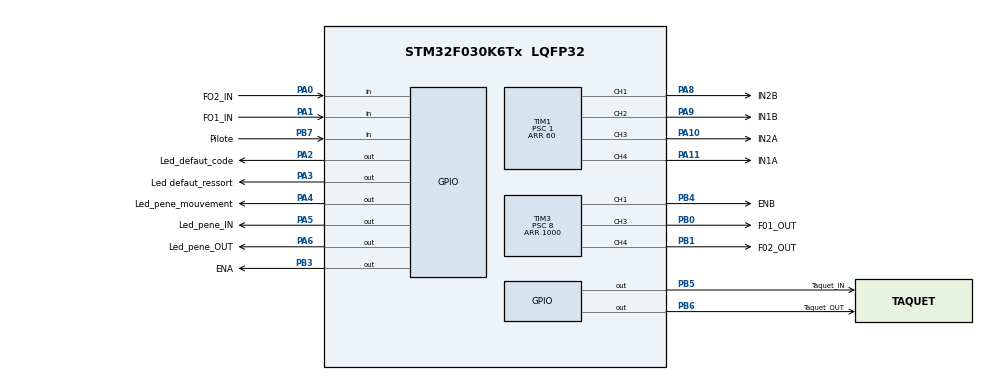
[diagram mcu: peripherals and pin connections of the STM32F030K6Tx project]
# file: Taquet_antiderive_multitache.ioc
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FREERTOS.HEAP_NUMBER=4
FREERTOS.INCLUDE_eTaskGetState=1
FREERTOS.INCLUDE_pcTaskGetTaskName=1
FREERTOS.INCLUDE_vTaskCleanUpResources=1
FREERTOS.INCLUDE_vTaskDelayUntil=1
FREERTOS.INCLUDE_xTaskAbortDelay=1
FREERTOS.INCLUDE_xTaskGetCurrentTaskHandle=1
FREERTOS.INCLUDE_xTaskGetHandle=1
FREERTOS.MEMORY_ALLOCATION=2
FREERTOS.Queues01=Queue1,16,uint16_t,0,Dynamic,NULL,NULL
FREERTOS.Tasks01=Task01,-1,80,StartTask01,Default,NULL,Dynamic,NULL,NULL;Task02,-1,80,StartTask02,Default,NULL,Dynamic,NULL,NULL
FREERTOS.configCHECK_FOR_STACK_OVERFLOW=0
FREERTOS.configENABLE_BACKWARD_COMPATIBILITY=1
FREERTOS.configIDLE_SHOULD_YIELD=0
FREERTOS.configMAX_PRIORITIES=3
FREERTOS.configMAX_TASK_NAME_LEN=16
FREERTOS.configMINIMAL_STACK_SIZE=64
FREERTOS.configTOTAL_HEAP_SIZE=1200
FREERTOS.configUSE_APPLICATION_TASK_TAG=1
FREERTOS.configUSE_CO_ROUTINES=0
FREERTOS.configUSE_IDLE_HOOK=1
FREERTOS.configUSE_MALLOC_FAILED_HOOK=1
FREERTOS.configUSE_MUTEXES=1
FREERTOS.configUSE_NEWLIB_REENTRANT=1
FREERTOS.configUSE_PREEMPTION=1
FREERTOS.configUSE_RECURSIVE_MUTEXES=1
FREERTOS.configUSE_TASK_NOTIFICATIONS=1
FREERTOS.configUSE_TICK_HOOK=1
Mcu.Family=STM32F0
Mcu.Name=STM32F030K6Tx
Mcu.Package=LQFP32
PA0.GPIO_Label=FO2_IN
PA0.GPIO_PuPd=GPIO_NOPULL
PA0.Signal=GPIO_Input
PA1.GPIO_Label=FO1_IN
PA1.GPIO_PuPd=GPIO_NOPULL
PA1.Signal=GPIO_Input
PA10.GPIO_Label=IN2A
PA10.Signal=S_TIM1_CH3
PA11.GPIO_Label=IN1A
PA11.Signal=S_TIM1_CH4
PA13.Mode=Serial_Wire
PA13.Signal=SYS_SWDIO
PA14.Mode=Serial_Wire
PA14.Signal=SYS_SWCLK
PA2.GPIO_Label=Led_defaut_code
PA2.Signal=GPIO_Output
PA3.GPIO_Label=Led defaut_ressort
PA3.Signal=GPIO_Output
PA4.GPIO_Label=Led_pene_mouvement
PA4.Signal=GPIO_Output
PA5.GPIO_Label=Led_pene_IN
PA5.Signal=GPIO_Output
PA6.GPIO_Label=Led_pene_OUT
PA6.Signal=GPIO_Output
PA8.GPIO_Label=IN2B
PA8.Signal=S_TIM1_CH1
PA9.GPIO_Label=IN1B
PA9.Signal=S_TIM1_CH2
PB0.GPIO_Label=F01_OUT
PB0.Signal=S_TIM3_CH3
PB1.GPIO_Label=F02_OUT
PB1.Signal=S_TIM3_CH4
PB3.GPIO_Label=ENA
PB3.Signal=GPIO_Output
PB4.GPIO_Label=ENB
PB4.Signal=S_TIM3_CH1
PB5.GPIO_Label=Taquet_IN
PB5.Signal=GPIO_Output
PB6.GPIO_Label=Taquet_OUT
PB6.Signal=GPIO_Output
PB7.GPIO_Label=Pilote
PB7.Signal=GPIO_Input
ProjectManager.HeapSize=0x200
ProjectManager.StackSize=0x400
ProjectManager.TargetToolchain=STM32CubeIDE
RCC.APB1Freq_Value=8000000
RCC.APB1TimFreq_Value=8000000
SH.S_TIM1_CH1.0=TIM1_CH1,PWM Generation1 CH1
SH.S_TIM1_CH2.0=TIM1_CH2,PWM Generation2 CH2
SH.S_TIM1_CH3.0=TIM1_CH3,PWM Generation3 CH3
SH.S_TIM1_CH4.0=TIM1_CH4,PWM Generation4 CH4
SH.S_TIM3_CH1.0=TIM3_CH1,PWM Generation1 CH1
SH.S_TIM3_CH3.0=TIM3_CH3,PWM Generation3 CH3
SH.S_TIM3_CH4.0=TIM3_CH4,PWM Generation4 CH4
TIM1.AutoReloadPreload=TIM_AUTORELOAD_PRELOAD_ENABLE
TIM1.Channel-PWM\ Generation1\ CH1=TIM_CHANNEL_1
TIM1.Channel-PWM\ Generation2\ CH2=TIM_CHANNEL_2
TIM1.Channel-PWM\ Generation3\ CH3=TIM_CHANNEL_3
TIM1.Channel-PWM\ Generation4\ CH4=TIM_CHANNEL_4
TIM1.Period=60
TIM1.Prescaler=1
TIM1.Pulse-PWM\ Generation1\ CH1=10
TIM1.Pulse-PWM\ Generation2\ CH2=10
TIM1.Pulse-PWM\ Generation3\ CH3=10
TIM1.Pulse-PWM\ Generation4\ CH4=10
TIM1.RepetitionCounter=0
TIM3.AutoReloadPreload=TIM_AUTORELOAD_PRELOAD_ENABLE
TIM3.Channel-PWM\ Generation1\ CH1=TIM_CHANNEL_1
TIM3.Channel-PWM\ Generation3\ CH3=TIM_CHANNEL_3
TIM3.Channel-PWM\ Generation4\ CH4=TIM_CHANNEL_4
TIM3.Period=1000
TIM3.Prescaler=8
TIM3.Pulse-PWM\ Generation1\ CH1=10
TIM3.Pulse-PWM\ Generation3\ CH3=10
TIM3.Pulse-PWM\ Generation4\ CH4=10
VP_FREERTOS_VS_CMSIS_V1.Mode=CMSIS_V1
VP_TIM1_VS_ClockSourceINT.Mode=Internal
VP_TIM3_VS_ClockSourceINT.Mode=Internal
board=custom

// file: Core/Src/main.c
/* USER CODE BEGIN Header */
/** Jotaro
  ******************************************************************************
  * @file           : main.c
  * @brief          : Main program body
  ******************************************************************************
  * @attention
  *
  * Copyright (c) 2023 STMicroelectronics.
  * All rights reserved.
  *
  * This software is licensed under terms that can be found in the LICENSE file
  * in the root directory of this software component.
  * If no LICENSE file comes with this software, it is provided AS-IS.
  *
  ******************************************************************************
  */
/* USER CODE END Header */
#include "main.h"
#include "cmsis_os.h"

/* USER CODE BEGIN Includes */
#include <stdint.h>
/* USER CODE END Includes */

TIM_HandleTypeDef htim1;
TIM_HandleTypeDef htim3;

osThreadId Task01Handle;
osThreadId Task02Handle;
osMessageQId Queue1Handle;
/* USER CODE BEGIN PV */
uint16_t moteurstart = 0; // =>1 moteur rentrer,  =>2 moteur sortir,  =>0 moteur arret,  =>3 moteur sequence finis mais pas maintenu

/* USER CODE END PV */

void SystemClock_Config(void);
static void MX_GPIO_Init(void);
static void MX_TIM1_Init(void);
static void MX_TIM3_Init(void);
void StartTask01(void const * argument);
void StartTask02(void const * argument);

int main(void)
{

  /* MCU Configuration--------------------------------------------------------*/

  /* Reset of all peripherals, Initializes the Flash interface and the Systick. */
  HAL_Init();

  /* Configure the system clock */
  SystemClock_Config();

  /* Initialize all configured peripherals */
  MX_GPIO_Init();
  MX_TIM1_Init();
  MX_TIM3_Init();
  /* USER CODE BEGIN 2 */
  HAL_GPIO_WritePin(GPIOB, ENA_Pin, GPIO_PIN_SET);
  TIM3->CCR1 = TIM3->ARR;

	int forcemot = 0, comptpas = 0, pasmax = 17, o = 375, i, pas = 0, ordre =0;
	forcemot = TIM1->ARR /2;

/*	while(1)
	{
		ordre = HAL_GPIO_ReadPin(GPIOB, Pilote_Pin);
		if(ordre == 1)
			  HAL_GPIO_WritePin(GPIOA, Led_pene_mouvement_Pin , GPIO_PIN_SET);
	}*/

/*
	  while(1)//(tempEvent.value.v == 20 && rentrer == 0)
	  {
		  	  //informe via led pene en mouvement
			  HAL_GPIO_WritePin(GPIOA, Led_pene_mouvement_Pin , GPIO_PIN_SET);
			  for(i=0;i<3;i++)
			  {
				  //tempEvent = osMessageGet(Queue1Handle, osDelay(1));
				  for(comptpas=0; comptpas < o; comptpas++);
				  TIM1->CCR4 = 0;
				  TIM1->CCR1 = forcemot;
				  o=o;
				  for(comptpas=0; comptpas < o; comptpas++);
				  TIM1->CCR1 = forcemot;
				  TIM1->CCR3 = forcemot;
				  o=o;
				  for(comptpas=0; comptpas < o; comptpas++);
				  TIM1->CCR1 = 0;
				  TIM1->CCR3 = forcemot;
				  o=o;
				  for(comptpas=0; comptpas < o; comptpas++);
				  TIM1->CCR3 = forcemot;
				  TIM1->CCR2 = forcemot;
				  o=o;
				  for(comptpas=0; comptpas < o; comptpas++);
				  TIM1->CCR3 = 0;
				  TIM1->CCR2 = forcemot;
				  o=o;
				  for(comptpas=0; comptpas < o; comptpas++);
				  TIM1->CCR2 = forcemot;
				  TIM1->CCR4 = forcemot;
				  o=o;
				  for(comptpas=0; comptpas < o; comptpas++);
				  TIM1->CCR2 = 0;
				  TIM1->CCR4 = forcemot;
				  o=o;
				  for(comptpas=0; comptpas < o; comptpas++);
				  TIM1->CCR4 = forcemot;
				  TIM1->CCR1 = forcemot;
				  o=o-20;
			  }
			  while(pas < pasmax)
			  {
				  //		tempEvent = osMessageGet(Queue1Handle, osDelay(1));
				  for(comptpas=0; comptpas < o; comptpas++);
				  TIM1->CCR4 = 0;
				  TIM1->CCR1 = forcemot;
				  pas=pas;
				  for(comptpas=0; comptpas < o; comptpas++);
				  TIM1->CCR1 = forcemot;
				  TIM1->CCR3 = forcemot;
				  pas=pas;
				  for(comptpas=0; comptpas < o; comptpas++);
				  TIM1->CCR1 = 0;
				  TIM1->CCR3 = forcemot;
				  pas=pas;
				  for(comptpas=0; comptpas < o; comptpas++);
				  TIM1->CCR3 = forcemot;
				  TIM1->CCR2 = forcemot;
				  pas=pas;
				  for(comptpas=0; comptpas < o; comptpas++);
				  TIM1->CCR3 = 0;
				  TIM1->CCR2 = forcemot;
				  pas=pas;
				  for(comptpas=0; comptpas < o; comptpas++);
				  TIM1->CCR2 = forcemot;
				  TIM1->CCR4 = forcemot;
				  pas=pas;
				  for(comptpas=0; comptpas < o; comptpas++);
				  TIM1->CCR2 = 0;
				  TIM1->CCR4 = forcemot;
				  pas=pas;
				  for(comptpas=0; comptpas < o; comptpas++);
				  TIM1->CCR4 = forcemot;
				  TIM1->CCR1 = forcemot;
				  pas++;
			  }
			  for(i=0;i<=3;i++)
			  {
				  //  tempEvent = osMessageGet(Queue1Handle, osDelay(1));
				  for(comptpas=0; comptpas < o; comptpas++);
				  TIM1->CCR4 = 0;
				  TIM1->CCR1 = forcemot;
				  o=o;
				  for(comptpas=0; comptpas < o; comptpas++);
				  TIM1->CCR1 = forcemot;
				  TIM1->CCR3 = forcemot;
				  o=o;
				  for(comptpas=0; comptpas < o; comptpas++);
				  TIM1->CCR1 = 0;
				  TIM1->CCR3 = forcemot;
				  o=o;
				  for(comptpas=0; comptpas < o; comptpas++);
				  TIM1->CCR3 = forcemot;
				  TIM1->CCR2 = forcemot;
				  o=o;
				  for(comptpas=0; comptpas < o; comptpas++);
				  TIM1->CCR3 = 0;
				  TIM1->CCR2 = forcemot;
				  o=o;
				  for(comptpas=0; comptpas < o; comptpas++);
				  TIM1->CCR2 = forcemot;
				  TIM1->CCR4 = forcemot;
				  o=o;
				  for(comptpas=0; comptpas < o; comptpas++);
				  TIM1->CCR2 = 0;
				  TIM1->CCR4 = forcemot;
				  o=o;
				  for(comptpas=0; comptpas < o; comptpas++);
				  TIM1->CCR4 = forcemot;
				  TIM1->CCR1 = forcemot;
				  o=o+20;
			  }
			  //controle frequence enable
			  TIM3->PSC = 1;
			  TIM3->ARR = 60;
			  // maintient en rentrer
			  // timer enable
			  TIM3->CCR1 = 40; //TIM3->ARR;

			  TIM1->PSC = 1;
			  TIM1->ARR = 60;
			  // timer sortie moteur
			  TIM1->CCR1 = 9;
			  TIM1->CCR2 = 0;
			  TIM1->CCR3 = 0;
			  TIM1->CCR4 = 0;
			  TIM3->PSC = 6;
			  TIM3->ARR = 10;

			  while(1)
			  {
				  HAL_GPIO_WritePin(GPIOA, Led_pene_mouvement_Pin , GPIO_PIN_SET);
				  TIM3->PSC = 4;
				  TIM3->ARR = 4;
			  }
	  }
*/

  /* USER CODE END 2 */

  /* Create the queue(s) */
  /* definition and creation of Queue1 */
  osMessageQDef(Queue1, 16, uint16_t);
  Queue1Handle = osMessageCreate(osMessageQ(Queue1), NULL);

  /* Create the thread(s) */
  /* definition and creation of Task01 */
  osThreadDef(Task01, StartTask01, osPriorityBelowNormal, 0, 80);
  Task01Handle = osThreadCreate(osThread(Task01), NULL);

  /* definition and creation of Task02 */
  osThreadDef(Task02, StartTask02, osPriorityBelowNormal, 0, 80);
  Task02Handle = osThreadCreate(osThread(Task02), NULL);

  /* Start scheduler */
  osKernelStart();
  /* We should never get here as control is now taken by the scheduler */
  /* Infinite loop */
  while (1)
  {

  }
}

void SystemClock_Config(void)
{
  RCC_OscInitTypeDef RCC_OscInitStruct = {0};
  RCC_ClkInitTypeDef RCC_ClkInitStruct = {0};

  /** Initializes the RCC Oscillators according to the specified parameters
  * in the RCC_OscInitTypeDef structure.
  */
  RCC_OscInitStruct.OscillatorType = RCC_OSCILLATORTYPE_HSI;
  RCC_OscInitStruct.HSIState = RCC_HSI_ON;
  RCC_OscInitStruct.HSICalibrationValue = RCC_HSICALIBRATION_DEFAULT;
  RCC_OscInitStruct.PLL.PLLState = RCC_PLL_NONE;
  if (HAL_RCC_OscConfig(&RCC_OscInitStruct) != HAL_OK)
  {
    Error_Handler();
  }

  /** Initializes the CPU, AHB and APB buses clocks
  */
  RCC_ClkInitStruct.ClockType = RCC_CLOCKTYPE_HCLK|RCC_CLOCKTYPE_SYSCLK
                              |RCC_CLOCKTYPE_PCLK1;
  RCC_ClkInitStruct.SYSCLKSource = RCC_SYSCLKSOURCE_HSI;
  RCC_ClkInitStruct.AHBCLKDivider = RCC_SYSCLK_DIV1;
  RCC_ClkInitStruct.APB1CLKDivider = RCC_HCLK_DIV1;

  if (HAL_RCC_ClockConfig(&RCC_ClkInitStruct, FLASH_LATENCY_0) != HAL_OK)
  {
    Error_Handler();
  }
}

static void MX_TIM1_Init(void)
{

  TIM_ClockConfigTypeDef sClockSourceConfig = {0};
  TIM_MasterConfigTypeDef sMasterConfig = {0};
  TIM_OC_InitTypeDef sConfigOC = {0};
  TIM_BreakDeadTimeConfigTypeDef sBreakDeadTimeConfig = {0};

  htim1.Instance = TIM1;
  htim1.Init.Prescaler = 1;
  htim1.Init.CounterMode = TIM_COUNTERMODE_UP;
  htim1.Init.Period = 60;
  htim1.Init.ClockDivision = TIM_CLOCKDIVISION_DIV1;
  htim1.Init.RepetitionCounter = 0;
  htim1.Init.AutoReloadPreload = TIM_AUTORELOAD_PRELOAD_ENABLE;
  if (HAL_TIM_Base_Init(&htim1) != HAL_OK)
  {
    Error_Handler();
  }
  sClockSourceConfig.ClockSource = TIM_CLOCKSOURCE_INTERNAL;
  if (HAL_TIM_ConfigClockSource(&htim1, &sClockSourceConfig) != HAL_OK)
  {
    Error_Handler();
  }
  if (HAL_TIM_PWM_Init(&htim1) != HAL_OK)
  {
    Error_Handler();
  }
  sMasterConfig.MasterOutputTrigger = TIM_TRGO_RESET;
  sMasterConfig.MasterSlaveMode = TIM_MASTERSLAVEMODE_DISABLE;
  if (HAL_TIMEx_MasterConfigSynchronization(&htim1, &sMasterConfig) != HAL_OK)
  {
    Error_Handler();
  }
  sConfigOC.OCMode = TIM_OCMODE_PWM1;
  sConfigOC.Pulse = 10;
  sConfigOC.OCPolarity = TIM_OCPOLARITY_HIGH;
  sConfigOC.OCNPolarity = TIM_OCNPOLARITY_HIGH;
  sConfigOC.OCFastMode = TIM_OCFAST_DISABLE;
  sConfigOC.OCIdleState = TIM_OCIDLESTATE_RESET;
  sConfigOC.OCNIdleState = TIM_OCNIDLESTATE_RESET;
  if (HAL_TIM_PWM_ConfigChannel(&htim1, &sConfigOC, TIM_CHANNEL_1) != HAL_OK)
  {
    Error_Handler();
  }
  if (HAL_TIM_PWM_ConfigChannel(&htim1, &sConfigOC, TIM_CHANNEL_2) != HAL_OK)
  {
    Error_Handler();
  }
  if (HAL_TIM_PWM_ConfigChannel(&htim1, &sConfigOC, TIM_CHANNEL_3) != HAL_OK)
  {
    Error_Handler();
  }
  if (HAL_TIM_PWM_ConfigChannel(&htim1, &sConfigOC, TIM_CHANNEL_4) != HAL_OK)
  {
    Error_Handler();
  }
  sBreakDeadTimeConfig.OffStateRunMode = TIM_OSSR_DISABLE;
  sBreakDeadTimeConfig.OffStateIDLEMode = TIM_OSSI_DISABLE;
  sBreakDeadTimeConfig.LockLevel = TIM_LOCKLEVEL_OFF;
  sBreakDeadTimeConfig.DeadTime = 0;
  sBreakDeadTimeConfig.BreakState = TIM_BREAK_DISABLE;
  sBreakDeadTimeConfig.BreakPolarity = TIM_BREAKPOLARITY_HIGH;
  sBreakDeadTimeConfig.AutomaticOutput = TIM_AUTOMATICOUTPUT_DISABLE;
  if (HAL_TIMEx_ConfigBreakDeadTime(&htim1, &sBreakDeadTimeConfig) != HAL_OK)
  {
    Error_Handler();
  }
  /* USER CODE BEGIN TIM1_Init 2 */

  HAL_TIM_PWM_Start(&htim1, TIM_CHANNEL_1);
  HAL_TIM_PWM_Start(&htim1, TIM_CHANNEL_2);
  HAL_TIM_PWM_Start(&htim1, TIM_CHANNEL_3);
  HAL_TIM_PWM_Start(&htim1, TIM_CHANNEL_4);

  TIM1->CCR1 = 0;
  TIM1->CCR2 = 0;
  TIM1->CCR3 = 0;
  TIM1->CCR4 = 0;

  /* USER CODE END TIM1_Init 2 */
  HAL_TIM_MspPostInit(&htim1);

}

static void MX_TIM3_Init(void)
{

  TIM_ClockConfigTypeDef sClockSourceConfig = {0};
  TIM_MasterConfigTypeDef sMasterConfig = {0};
  TIM_OC_InitTypeDef sConfigOC = {0};

  htim3.Instance = TIM3;
  htim3.Init.Prescaler = 8;
  htim3.Init.CounterMode = TIM_COUNTERMODE_UP;
  htim3.Init.Period = 1000;
  htim3.Init.ClockDivision = TIM_CLOCKDIVISION_DIV1;
  htim3.Init.AutoReloadPreload = TIM_AUTORELOAD_PRELOAD_ENABLE;
  if (HAL_TIM_Base_Init(&htim3) != HAL_OK)
  {
    Error_Handler();
  }
  sClockSourceConfig.ClockSource = TIM_CLOCKSOURCE_INTERNAL;
  if (HAL_TIM_ConfigClockSource(&htim3, &sClockSourceConfig) != HAL_OK)
  {
    Error_Handler();
  }
  if (HAL_TIM_PWM_Init(&htim3) != HAL_OK)
  {
    Error_Handler();
  }
  sMasterConfig.MasterOutputTrigger = TIM_TRGO_RESET;
  sMasterConfig.MasterSlaveMode = TIM_MASTERSLAVEMODE_DISABLE;
  if (HAL_TIMEx_MasterConfigSynchronization(&htim3, &sMasterConfig) != HAL_OK)
  {
    Error_Handler();
  }
  sConfigOC.OCMode = TIM_OCMODE_PWM1;
  sConfigOC.Pulse = 10;
  sConfigOC.OCPolarity = TIM_OCPOLARITY_HIGH;
  sConfigOC.OCFastMode = TIM_OCFAST_DISABLE;
  if (HAL_TIM_PWM_ConfigChannel(&htim3, &sConfigOC, TIM_CHANNEL_1) != HAL_OK)
  {
    Error_Handler();
  }
  if (HAL_TIM_PWM_ConfigChannel(&htim3, &sConfigOC, TIM_CHANNEL_3) != HAL_OK)
  {
    Error_Handler();
  }
  if (HAL_TIM_PWM_ConfigChannel(&htim3, &sConfigOC, TIM_CHANNEL_4) != HAL_OK)
  {
    Error_Handler();
  }
  /* USER CODE BEGIN TIM3_Init 2 */

  //active les timer pour les fourches optiques
  HAL_TIM_PWM_Start(&htim3, TIM_CHANNEL_3);
  HAL_TIM_PWM_Start(&htim3, TIM_CHANNEL_4);

  //active les timer pour les enables
  HAL_TIM_PWM_Start(&htim3, TIM_CHANNEL_1);

    // timer pour les fourches optiques
    TIM3->CCR3 = TIM3->ARR/2;
    TIM3->CCR4 = TIM3->ARR/2;

    //timer pour les enables
    TIM3->CCR1 = TIM3->ARR/2; // ENB

  /* USER CODE END TIM3_Init 2 */
  HAL_TIM_MspPostInit(&htim3);

}

static void MX_GPIO_Init(void)
{
  GPIO_InitTypeDef GPIO_InitStruct = {0};

  /* GPIO Ports Clock Enable */
  __HAL_RCC_GPIOA_CLK_ENABLE();
  __HAL_RCC_GPIOB_CLK_ENABLE();

  /*Configure GPIO pin Output Level */
  HAL_GPIO_WritePin(GPIOA, Led_defaut_code_Pin|Led_defaut_ressort_Pin|Led_pene_mouvement_Pin|Led_pene_IN_Pin
                          |Led_pene_OUT_Pin, GPIO_PIN_RESET);

  /*Configure GPIO pin Output Level */
  HAL_GPIO_WritePin(GPIOB, ENA_Pin|Taquet_IN_Pin|Taquet_OUT_Pin, GPIO_PIN_RESET);

  /*Configure GPIO pins : FO2_IN_Pin FO1_IN_Pin */
  GPIO_InitStruct.Pin = FO2_IN_Pin|FO1_IN_Pin;
  GPIO_InitStruct.Mode = GPIO_MODE_INPUT;
  GPIO_InitStruct.Pull = GPIO_NOPULL;
  HAL_GPIO_Init(GPIOA, &GPIO_InitStruct);

  /*Configure GPIO pins : Led_defaut_code_Pin Led_defaut_ressort_Pin Led_pene_mouvement_Pin Led_pene_IN_Pin
                           Led_pene_OUT_Pin */
  GPIO_InitStruct.Pin = Led_defaut_code_Pin|Led_defaut_ressort_Pin|Led_pene_mouvement_Pin|Led_pene_IN_Pin
                          |Led_pene_OUT_Pin;
  GPIO_InitStruct.Mode = GPIO_MODE_OUTPUT_PP;
  GPIO_InitStruct.Pull = GPIO_NOPULL;
  GPIO_InitStruct.Speed = GPIO_SPEED_FREQ_LOW;
  HAL_GPIO_Init(GPIOA, &GPIO_InitStruct);

  /*Configure GPIO pins : ENA_Pin Taquet_IN_Pin Taquet_OUT_Pin */
  GPIO_InitStruct.Pin = ENA_Pin|Taquet_IN_Pin|Taquet_OUT_Pin;
  GPIO_InitStruct.Mode = GPIO_MODE_OUTPUT_PP;
  GPIO_InitStruct.Pull = GPIO_NOPULL;
  GPIO_InitStruct.Speed = GPIO_SPEED_FREQ_LOW;
  HAL_GPIO_Init(GPIOB, &GPIO_InitStruct);

  /*Configure GPIO pin : Pilote_Pin */
  GPIO_InitStruct.Pin = Pilote_Pin;
  GPIO_InitStruct.Mode = GPIO_MODE_INPUT;
  GPIO_InitStruct.Pull = GPIO_NOPULL;
  HAL_GPIO_Init(Pilote_GPIO_Port, &GPIO_InitStruct);

}

/* USER CODE BEGIN 4 */

int fourcheoptique(uint16_t choix)
{
	uint16_t x = 0, y = 0, compt = 0, nbrdetest = 100, etat = 0, etat1 = 0; //variabel de compteur
	// frequence du timer
	TIM3->PSC = 8;
	TIM3->ARR = 1000;
	// timer enable
	TIM3->CCR1 = TIM3->ARR;
	while(compt<nbrdetest) // on vÃ©rifie 50 fois lÃ©tat logique du signal
	{
		x = HAL_GPIO_ReadPin(GPIOA, FO1_IN_Pin); // on lit la fourche optique 1
		y = HAL_GPIO_ReadPin(GPIOA, FO2_IN_Pin); // on lit la fourche optique 2
		etat = etat + x;
		etat1 = etat1 + y;
		compt++;
	}
	if (etat == nbrdetest && choix == 1)
		return 1; // detection d'obstacle
	else if (etat < nbrdetest && choix == 1)
		return 2; // rien Ã  l'horizon
	else if (etat1 == nbrdetest && choix == 0)
		return 10; // detection d'obstacle
	else if (etat1 < nbrdetest && choix == 0)
		return 20; // rien Ã  l'horizon
}

/* USER CODE END 4 */

void StartTask01(void const * argument)
{
  /* USER CODE BEGIN 5 */
	int fo1 = 0, fo2 = 0, ordre = 0, rentrer = 0;
	  /* Infinite loop */
	  for(;;)
	  {
		  //reception d'un ordre
		  HAL_GPIO_WritePin(GPIOB, Taquet_IN_Pin, SET);
		  ordre = HAL_GPIO_ReadPin(GPIOB, Pilote_Pin);
		  //Si ordre == 1 alors le pene doit rentrer
		  //SI ordre == 0 alors le pene doit sortir
		  if(ordre == 1 && rentrer == 0)
		  {
			  // on verifie si le pene est sortie
			  fo1 = fourcheoptique(1);
			  if(fo1 == 1)
			  {
				  // on demarre le moteur en envoyant un message vers la 2eme tache
				  moteurstart = 1; // moteur demarre la rentrer

				  while(fo1 != 10 && moteurstart == 1)
				  {
					  //reception message 63 pas fait avec la variable global start moteur
					  // on verifie si le pene est rentrer
					  fo1 = fourcheoptique(0);
					  osDelay(10);
				  }
				  // a parir de la le pen est bloque en position rentrer
				  // variable pour dire si le pene est rentrer ou non
				  rentrer = 1;
				  moteurstart = 0;
				  //envoyer au maitre que le taquet est rentrer
				  HAL_GPIO_WritePin(GPIOB, Taquet_IN_Pin, SET);
				  HAL_GPIO_WritePin(GPIOB, Taquet_OUT_Pin, RESET);
				  //informer pene rentrer
				  HAL_GPIO_WritePin(GPIOA, Led_pene_IN_Pin, SET);
				  HAL_GPIO_WritePin(GPIOA, Led_pene_OUT_Pin, RESET);
			  }
		  }// Fin ordre de rentrer
		  else if(ordre == 0 && rentrer == 1)
		  {
			  moteurstart = 5;
			  // on verifie si le pene est rentrer
			  fo1 = fourcheoptique(0);
			  if(fo1 == 10)//si rentrer
			  {
				  //informe pene en mouvement
				  HAL_GPIO_WritePin(GPIOA, Led_pene_mouvement_Pin , GPIO_PIN_SET);
				  //desactive les sorties pour laisser le ressort sortir
				  TIM1->CCR3 = 0;
				  TIM1->CCR2 = 0;
				  TIM1->CCR4 = 0;
				  TIM1->CCR1 = 0;
				  //desactivation des enables
				  HAL_GPIO_WritePin(GPIOB, ENA_Pin, GPIO_PIN_RESET);
				  TIM3->CCR1 = 0; // => ENB desactiver
				  HAL_Delay(1);//temps pour laisser le temps au pene de se faire voir par la fourche
				  //activation des enables
				  TIM3->CCR1 = TIM3->ARR; // => ENB activer
				  //active la sortie
				  TIM1->CCR4 = TIM1->ARR/2;
				  HAL_Delay(100);//temps pour laisser le temps au pene de se faire voir par la fourche
				  TIM1->CCR4 = 0;//relache la sorti totalement
				  TIM3->CCR1 = 0; // => ENB desactiver
				  HAL_Delay(50);//temps pour laisser le temps au pene de se faire voir par la fourche
				  //savoir si le pene est bien sorti
				  fo1 = fourcheoptique(1);
				  if(fo1 == 1)//le pen est bien sorti
				  {
					  //envoyer au maitre que le taquer est sorti
					  HAL_GPIO_WritePin(GPIOB, Taquet_OUT_Pin, SET);
					  HAL_GPIO_WritePin(GPIOB, Taquet_IN_Pin, RESET);
					  //informe pene s'arrete
					  HAL_GPIO_WritePin(GPIOA, Led_pene_mouvement_Pin , GPIO_PIN_RESET);
					  HAL_GPIO_WritePin(GPIOA, Led_defaut_ressort_Pin , GPIO_PIN_RESET);
					  //informer pene rentrer
					  HAL_GPIO_WritePin(GPIOA, Led_pene_IN_Pin, RESET);
					  HAL_GPIO_WritePin(GPIOA, Led_pene_OUT_Pin, SET);
				  }
				  else //probleme de ressort sort manuellement le pene
				  {
					  HAL_GPIO_WritePin(GPIOA, Led_defaut_ressort_Pin , GPIO_PIN_SET);
					  //enable pour faire fonctionner le moteur
					  HAL_GPIO_WritePin(GPIOB, ENA_Pin, GPIO_PIN_SET);
					  TIM3->CCR1 = TIM3->ARR; // => ENB activer
					  // on demarre le moteur en envoyant un message vers la 2eme tache
					  moteurstart = 2;
					  while(moteurstart == 2 && fo1 != 1)
					  {
						  //reception message 63 pas fait avec la variable global moteurstart
						  // on verifie si le pene est rentrer
						  fo1 = fourcheoptique(1);
						  osDelay(10);
					  }
					  //envoyer au maitre que le taquet est rentrer
					  HAL_GPIO_WritePin(GPIOB, Taquet_IN_Pin, RESET);
					  HAL_GPIO_WritePin(GPIOB, Taquet_OUT_Pin, SET);
					  //informer pene rentrer
					  HAL_GPIO_WritePin(GPIOA, Led_pene_IN_Pin, RESET);
					  HAL_GPIO_WritePin(GPIOA, Led_pene_OUT_Pin, SET);
				  }// fin resortir le pen manuellement
				  //active les enables
				  HAL_GPIO_WritePin(GPIOB, ENA_Pin, GPIO_PIN_SET);
				  TIM3->CCR1 = TIM3->ARR;
			  }
			  rentrer = 0;
		  }// fin ordre de sorti*/

		  fo1 = fourcheoptique(0);
		  fo2 = fourcheoptique(1);
		  if(fo2 == 2 && fo1 == 20 && rentrer == 1)
		  {
			  moteurstart = 1;
			  while(fo1 == 20 && fo2 == 2)
			  {
				  fo1 = fourcheoptique(0);
				  fo2 = fourcheoptique(1);
			  }
			  HAL_GPIO_WritePin(GPIOA, Led_defaut_ressort_Pin, SET);
			  moteurstart = 0;
			  TIM1->CCR1 = 9;
			  TIM1->CCR2 = 0;
			  TIM1->CCR3 = 0;
			  TIM1->CCR4 = 0;
		  }
		  else if(fo1 == 20 && fo2 == 2 && rentrer == 0)
		  {
			  moteurstart = 2;
			  while(fo1 == 20 && fo2 == 2)
			  {
				  fo1 = fourcheoptique(0);
				  fo2 = fourcheoptique(1);
			  }
			  HAL_GPIO_WritePin(GPIOA, Led_defaut_ressort_Pin, SET);
			  moteurstart = 0;
			  TIM1->CCR1 = 0;
			  TIM1->CCR2 = 0;
			  TIM1->CCR3 = 0;
			  TIM1->CCR4 = 0;
		  }
		  else
			  HAL_GPIO_WritePin(GPIOA, Led_defaut_code_Pin|Led_defaut_ressort_Pin, RESET);

	  }
  /* USER CODE END 5 */
}

void StartTask02(void const * argument)
{
  /* USER CODE BEGIN StartTask02 */
	int forcemot, comptpas = 0, pasmax = 6, o = 375, i, pas = 0, rentre = 10;
	forcemot = TIM1->ARR /2;
  /* Infinite loop */
  for(;;)
  {
	  comptpas = 0;
	  pas = 0;
	  if(moteurstart == 1) //moteur en mode rentrer le pene
	  {
		  //informe pene en mouvement
		  HAL_GPIO_WritePin(GPIOA, Led_pene_mouvement_Pin , GPIO_PIN_SET);
		  //active les enables
		  HAL_GPIO_WritePin(GPIOB, ENA_Pin, GPIO_PIN_SET);
		  TIM3->CCR1 = TIM3->ARR;
		  for(i=0;i<3 && moteurstart == 1;i++)
		  {
			  TIM1->CCR4 = 0;
			  TIM1->CCR1 = forcemot;
			  for(comptpas=0; comptpas < o; comptpas++);
			  TIM1->CCR1 = forcemot;
			  TIM1->CCR3 = forcemot;
			  for(comptpas=0; comptpas < o; comptpas++);
			  TIM1->CCR1 = 0;
			  TIM1->CCR3 = forcemot;
			  for(comptpas=0; comptpas < o; comptpas++);
			  TIM1->CCR3 = forcemot;
			  TIM1->CCR2 = forcemot;
			  for(comptpas=0; comptpas < o; comptpas++);
			  TIM1->CCR3 = 0;
			  TIM1->CCR2 = forcemot;
			  for(comptpas=0; comptpas < o; comptpas++);
			  TIM1->CCR2 = forcemot;
			  TIM1->CCR4 = forcemot;
			  for(comptpas=0; comptpas < o; comptpas++);
			  TIM1->CCR2 = 0;
			  TIM1->CCR4 = forcemot;
			  for(comptpas=0; comptpas < o; comptpas++);
			  TIM1->CCR4 = forcemot;
			  TIM1->CCR1 = forcemot;
			  o=o-20;
		  }
		  for(pas = 0; pas < pasmax  && moteurstart == 1; pas++)
		  {
			  TIM1->CCR4 = 0;
			  TIM1->CCR1 = forcemot;
			  for(comptpas=0; comptpas < o; comptpas++);
			  TIM1->CCR1 = forcemot;
			  TIM1->CCR3 = forcemot;
			  for(comptpas=0; comptpas < o; comptpas++);
			  TIM1->CCR1 = 0;
			  TIM1->CCR3 = forcemot;
			  for(comptpas=0; comptpas < o; comptpas++);
			  TIM1->CCR3 = forcemot;
			  TIM1->CCR2 = forcemot;
			  for(comptpas=0; comptpas < o; comptpas++);
			  TIM1->CCR3 = 0;
			  TIM1->CCR2 = forcemot;
			  for(comptpas=0; comptpas < o; comptpas++);
			  TIM1->CCR2 = forcemot;
			  TIM1->CCR4 = forcemot;
			  for(comptpas=0; comptpas < o; comptpas++);
			  TIM1->CCR2 = 0;
			  TIM1->CCR4 = forcemot;
			  for(comptpas=0; comptpas < o; comptpas++);
			  TIM1->CCR4 = forcemot;
			  TIM1->CCR1 = forcemot;
			  for(comptpas=0; comptpas < o; comptpas++);
		  }
		  for(i=0;i<=3 && moteurstart == 1;i++)
		  {
				  TIM1->CCR4 = 0;
				  TIM1->CCR1 = forcemot;
				  for(comptpas=0; comptpas < o; comptpas++);
				  TIM1->CCR1 = forcemot;
				  TIM1->CCR3 = forcemot;
				  for(comptpas=0; comptpas < o; comptpas++);
				  TIM1->CCR1 = 0;
				  TIM1->CCR3 = forcemot;
				  for(comptpas=0; comptpas < o; comptpas++);
				  TIM1->CCR3 = forcemot;
				  TIM1->CCR2 = forcemot;
				  for(comptpas=0; comptpas < o; comptpas++);
				  TIM1->CCR3 = 0;
				  TIM1->CCR2 = forcemot;
				  for(comptpas=0; comptpas < o; comptpas++);
				  TIM1->CCR2 = forcemot;
				  TIM1->CCR4 = forcemot;
				  for(comptpas=0; comptpas < o; comptpas++);
				  TIM1->CCR2 = 0;
				  TIM1->CCR4 = forcemot;
				  for(comptpas=0; comptpas < o; comptpas++);
				  TIM1->CCR4 = forcemot;
				  TIM1->CCR1 = forcemot;
				  o=o+20;
				  for(comptpas=0; comptpas < o; comptpas++);
		  }
		  	  moteurstart = 3; // fin séquence mais pas encore maintenue
			  //controle frequence enable
			  TIM3->PSC = 1;
			  TIM3->ARR = 60;
			  // maintient en rentrer
			  // timer enable
			  TIM3->CCR1 = 40; //TIM3->ARR;

			  TIM1->PSC = 1;
			  TIM1->ARR = 60;
			  // timer sortie moteur
			  TIM1->CCR1 = 9;
			  TIM1->CCR2 = 0;
			  TIM1->CCR3 = 0;
			  TIM1->CCR4 = 0;

			  moteurstart = 0 ; //dit que la séquence est terminé moteur maintenu

			  TIM3->PSC = 6;
			  TIM3->ARR = 10;
			  pas = 0;
			  HAL_GPIO_WritePin(GPIOA, Led_pene_mouvement_Pin , GPIO_PIN_RESET);
			  rentre = 1;
			  while(rentre == 1)
			  {
				  if(moteurstart == 5)
					  rentre = 0;
			  }//fin sortir pene
	  }//stop rentrer le moteur
	  else if (moteurstart == 2 && rentre == 0) // sortir le moteur
	  {
		  //informe via led pene en mouvement
		  HAL_GPIO_WritePin(GPIOA, Led_pene_mouvement_Pin , GPIO_PIN_SET);
		  //active les enables
		  HAL_GPIO_WritePin(GPIOB, ENA_Pin, GPIO_PIN_SET);
		  TIM3->CCR1 = TIM3->ARR;

		  for(i=0;i<3 && moteurstart == 2; i++)//envoyer au maitre que le taquet est rentrer
		  {
			  TIM1->CCR1 = 0;
			  TIM1->CCR4 = forcemot;
			  for(comptpas=0; comptpas < o; comptpas++);
			  TIM1->CCR4 = forcemot;
			  TIM1->CCR2 = forcemot;
			  for(comptpas=0; comptpas < o; comptpas++);
			  TIM1->CCR4 = 0;
			  TIM1->CCR2 = forcemot;
			  for(comptpas=0; comptpas < o; comptpas++);
			  TIM1->CCR2 = forcemot;
			  TIM1->CCR3 = forcemot;
			  for(comptpas=0; comptpas < o; comptpas++);
			  TIM1->CCR2 = 0;
			  TIM1->CCR3 = forcemot;
			  for(comptpas=0; comptpas < o; comptpas++);
			  TIM1->CCR3 = forcemot;
			  TIM1->CCR1 = forcemot;
			  for(comptpas=0; comptpas < o; comptpas++);
			  TIM1->CCR3 = 0;
			  TIM1->CCR1 = forcemot;
			  for(comptpas=0; comptpas < o; comptpas++);
			  TIM1->CCR1 = forcemot;
			  TIM1->CCR4 = forcemot;
			  o=o+10;
			  for(comptpas=0; comptpas < o; comptpas++);
		  }
		  for(pas = 0; pas < pasmax && moteurstart == 2; pas++)
		  {
			  // blocage sans bruit nickel
			  // le moteur n'arrive pas a entrener le pene
			  for(comptpas=0; comptpas < o; comptpas++);
			  TIM1->CCR1 = 0;
			  TIM1->CCR4 = forcemot;
			  for(comptpas=0; comptpas < o; comptpas++);
			  TIM1->CCR4 = forcemot;
			  TIM1->CCR2 = forcemot;
			  for(comptpas=0; comptpas < o; comptpas++);
			  TIM1->CCR4 = 0;
			  TIM1->CCR2 = forcemot;
			  for(comptpas=0; comptpas < o; comptpas++);
			  TIM1->CCR2 = forcemot;
			  TIM1->CCR3 = forcemot;
			  for(comptpas=0; comptpas < o; comptpas++);
			  TIM1->CCR2 = 0;
			  TIM1->CCR3 = forcemot;
			  for(comptpas=0; comptpas < o; comptpas++);
			  TIM1->CCR3 = forcemot;
			  TIM1->CCR1 = forcemot;
			  for(comptpas=0; comptpas < o; comptpas++);
			  TIM1->CCR3 = 0;
			  TIM1->CCR1 = forcemot;
			  for(comptpas=0; comptpas < o; comptpas++);
			  TIM1->CCR1 = forcemot;
			  TIM1->CCR4 = forcemot;
		  }
		  for(i=0;i<=3 && moteurstart == 2;i++)
		  {
			  TIM1->CCR1 = 0;
			  TIM1->CCR4 = forcemot;
			  for(comptpas=0; comptpas < o; comptpas++);
			  TIM1->CCR4 = forcemot;
			  TIM1->CCR2 = forcemot;
			  for(comptpas=0; comptpas < o; comptpas++);
			  TIM1->CCR4 = 0;
			  TIM1->CCR2 = forcemot;
			  for(comptpas=0; comptpas < o; comptpas++);
			  TIM1->CCR2 = forcemot;
			  TIM1->CCR3 = forcemot;
			  for(comptpas=0; comptpas < o; comptpas++);
			  TIM1->CCR2 = 0;
			  TIM1->CCR3 = forcemot;
			  for(comptpas=0; comptpas < o; comptpas++);
			  TIM1->CCR3 = forcemot;
			  TIM1->CCR1 = forcemot;
			  for(comptpas=0; comptpas < o; comptpas++);
			  TIM1->CCR3 = 0;
			  TIM1->CCR1 = forcemot;
			  for(comptpas=0; comptpas < o; comptpas++);
			  TIM1->CCR1 = forcemot;
			  TIM1->CCR4 = forcemot;
			  o=o+10;
			  for(comptpas=0; comptpas < o; comptpas++);
		  }
		  HAL_GPIO_WritePin(GPIOA, Led_pene_mouvement_Pin , GPIO_PIN_RESET);
		  moteurstart = 0;
		  rentre =1;
	  }//fin sortir le pene

  }// fin for ()
  /* USER CODE END StartTask02 */
}

void Error_Handler(void)
{
  __disable_irq();
  while (1)
  {
  }
}

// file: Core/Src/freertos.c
/* USER CODE BEGIN Header */
/**
  ******************************************************************************
  * File Name          : freertos.c
  * Description        : Code for freertos applications
  ******************************************************************************
  * @attention
  *
  * Copyright (c) 2023 STMicroelectronics.
  * All rights reserved.
  *
  * This software is licensed under terms that can be found in the LICENSE file
  * in the root directory of this software component.
  * If no LICENSE file comes with this software, it is provided AS-IS.
  *
  ******************************************************************************
  */
/* USER CODE END Header */

#include "FreeRTOS.h"
#include "task.h"
#include "main.h"

/* GetIdleTaskMemory prototype (linked to static allocation support) */
void vApplicationGetIdleTaskMemory( StaticTask_t **ppxIdleTaskTCBBuffer, StackType_t **ppxIdleTaskStackBuffer, uint32_t *pulIdleTaskStackSize );

/* Hook prototypes */
void vApplicationIdleHook(void);
void vApplicationTickHook(void);
void vApplicationMallocFailedHook(void);

/* USER CODE BEGIN 2 */
__weak void vApplicationIdleHook( void )
{
   /* vApplicationIdleHook() will only be called if configUSE_IDLE_HOOK is set
   to 1 in FreeRTOSConfig.h. It will be called on each iteration of the idle
   task. It is essential that code added to this hook function never attempts
   to block in any way (for example, call xQueueReceive() with a block time
   specified, or call vTaskDelay()). If the application makes use of the
   vTaskDelete() API function (as this demo application does) then it is also
   important that vApplicationIdleHook() is permitted to return to its calling
   function, because it is the responsibility of the idle task to clean up
   memory allocated by the kernel to any task that has since been deleted. */
}
/* USER CODE END 2 */

/* USER CODE BEGIN 3 */
__weak void vApplicationTickHook( void )
{
   /* This function will be called by each tick interrupt if
   configUSE_TICK_HOOK is set to 1 in FreeRTOSConfig.h. User code can be
   added here, but the tick hook is called from an interrupt context, so
   code must not attempt to block, and only the interrupt safe FreeRTOS API
   functions can be used (those that end in FromISR()). */
}
/* USER CODE END 3 */

/* USER CODE BEGIN 5 */
__weak void vApplicationMallocFailedHook(void)
{
   /* vApplicationMallocFailedHook() will only be called if
   configUSE_MALLOC_FAILED_HOOK is set to 1 in FreeRTOSConfig.h. It is a hook
   function that will get called if a call to pvPortMalloc() fails.
   pvPortMalloc() is called internally by the kernel whenever a task, queue,
   timer or semaphore is created. It is also called by various parts of the
   demo application. If heap_1.c or heap_2.c are used, then the size of the
   heap available to pvPortMalloc() is defined by configTOTAL_HEAP_SIZE in
   FreeRTOSConfig.h, and the xPortGetFreeHeapSize() API function can be used
   to query the size of free heap space that remains (although it does not
   provide information on how the remaining heap might be fragmented). */
}
/* USER CODE END 5 */

/* USER CODE BEGIN GET_IDLE_TASK_MEMORY */
static StaticTask_t xIdleTaskTCBBuffer;
static StackType_t xIdleStack[configMINIMAL_STACK_SIZE];

void vApplicationGetIdleTaskMemory( StaticTask_t **ppxIdleTaskTCBBuffer, StackType_t **ppxIdleTaskStackBuffer, uint32_t *pulIdleTaskStackSize )
{
  *ppxIdleTaskTCBBuffer = &xIdleTaskTCBBuffer;
  *ppxIdleTaskStackBuffer = &xIdleStack[0];
  *pulIdleTaskStackSize = configMINIMAL_STACK_SIZE;
  /* place for user code */
}
/* USER CODE END GET_IDLE_TASK_MEMORY */
